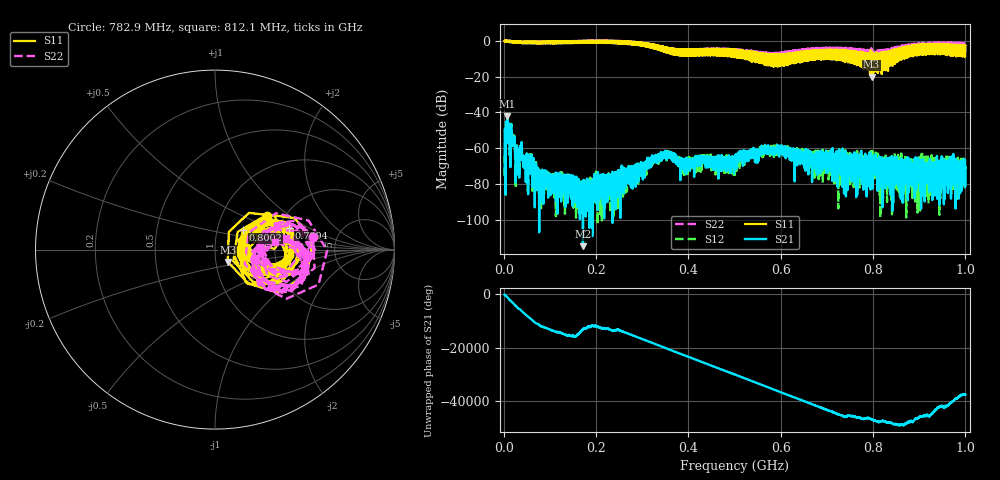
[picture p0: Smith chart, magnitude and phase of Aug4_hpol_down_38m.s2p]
!Keysight Technologies N9923A: A.12.45
!Date: Tuesday, 05 August 2025 19:02:54
!Timezone: (UTC+08:00) Kuala Lumpur, Singapore
!Model: N9923A
!Serial: MY61181427
!GPS Latitude:
!GPS Longitude:
!GPS TimeStamp: 0001-01-01 00:00:00Z
!GPS Seconds Since Last Read: 0
!CHECKSUM:0739722220
!Correction: S11(ON U)S21(ON U)S12(ON U)S22(ON U)
!S2P File: Measurements:S11,S21,S12,S22:
# Hz S DB R 50
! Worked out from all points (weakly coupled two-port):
!   4001 points, 2 MHz to 1 GHz, reference 50 ohm
!   highest |S21| = -42.16 dB at 8.238 MHz (marker M1); lowest = -114.7 dB at 171.7 MHz (marker M2)
!   lowest |S11| = -20.1 dB at 796.9 MHz (marker M3), VSWR 1.22, Z = 57.1 - j7.9 ohm
!   |S11| at or under -10 dB: 582.5496 MHz to 583.344 MHz (794.5 kHz wide, 0.136 % of centre); 589.3103 MHz to 590.1124 MHz (802.1 kHz wide, 0.136 % of centre); 596.0406 MHz to 596.8721 MHz (831.5 kHz wide, 0.139 % of centre)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
!   |S22| runs from -14.7 to 0.2 dB; largest |S21 - S12| = 0.0012
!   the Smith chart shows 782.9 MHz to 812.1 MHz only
!   S11 on the Smith chart (normalised r, x): 782.9 MHz: 1.64, +0.69; 789.4 MHz: 2.25, +0.68; 800.2 MHz: 1.33, +0.30; 812.1 MHz: 1.35, -0.11
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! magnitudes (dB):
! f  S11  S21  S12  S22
! 2 MHz  -0.1  -74.1  -75.6  -0.1
! 8.238 MHz  0.0  -42.2  -42.2  -0.1
! 19.96 MHz  -0.2  -54.8  -54.4  -0.3
! 29.45 MHz  -0.9  -62.1  -61.4  -0.9
! 60.13 MHz  -0.5  -63.7  -63.9  -0.5
! 81.34 MHz  -1.3  -89.7  -84.6  -1.2
! 168.4 MHz  -1.2  -94.3  -78.4  -1.0
! 171.7 MHz  -1.1  -114.7  -82.8  -0.9
! 248.3 MHz  -0.1  -82.8  -80.3  0.0
! 334.8 MHz  -3.8  -66.7  -68.1  -4.5
! 356.8 MHz  -4.3  -65.4  -63.5  -4.9
! 395 MHz  -6.5  -67.9  -70.0  -7.4
! 501 MHz  -5.7  -68.4  -65.1  -6.5
! 567.1 MHz  -7.7  -60.7  -58.9  -6.7
! 667.4 MHz  -8.6  -63.9  -65.0  -8.7
! 782.9 MHz  -9.2  -72.2  -73.4  -5.2
! 789.4 MHz  -7.4  -70.5  -69.1  -6.0
! 796.9 MHz  -20.1  -76.1  -63.8  -8.1
! 800.2 MHz  -14.4  -66.0  -74.4  -6.7
! 812.1 MHz  -16.2  -76.8  -66.0  -9.4
! 833.8 MHz  -10.7  -73.8  -74.7  -5.5
! 1 GHz  -2.7  -70.3  -71.7  -2.4
